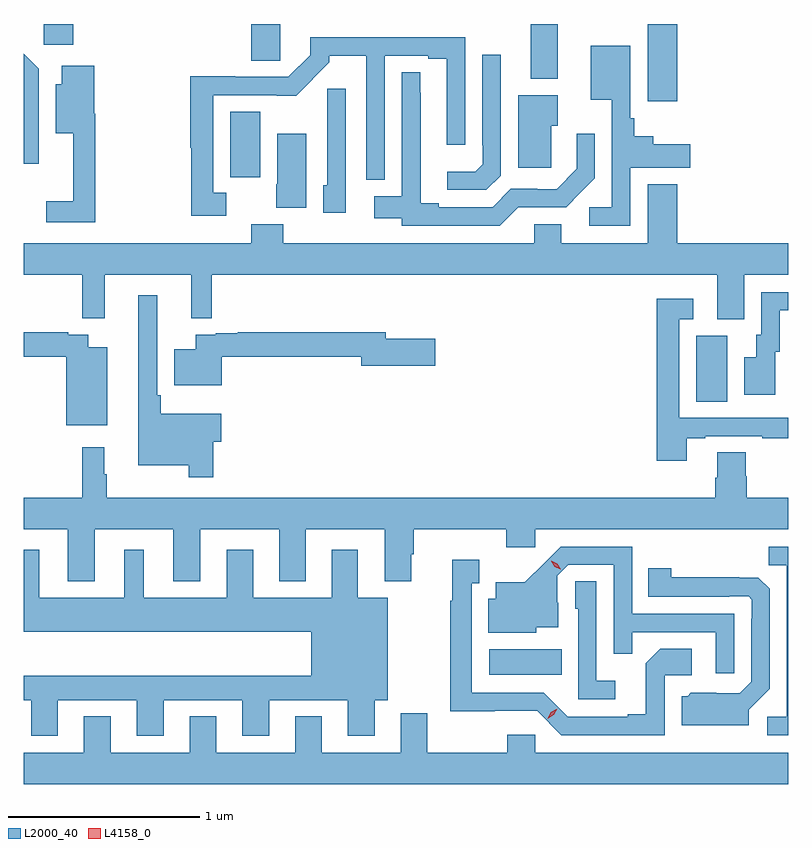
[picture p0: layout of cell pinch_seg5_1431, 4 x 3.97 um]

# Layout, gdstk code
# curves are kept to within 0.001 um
import gdstk
lib = gdstk.Library(unit=1e-6, precision=1e-09)
def R(c, l, rs):  # rectangles x0, y0, x1, y1
    for r in rs: c.add(gdstk.rectangle(r[:2], r[2:], *l))
def P(c, l, *ps):  # polygons
    for p in ps: c.add(gdstk.Polygon(p, *l))
L2000_40 = (2000, 40)
L4158_0 = (4158, 0)

pinch_seg5_1431 = lib.new_cell('pinch_seg5_1431')
R(pinch_seg5_1431, L2000_40, [(169.122,886.634,169.502,886.768), (170.204,888.064,170.368,888.408), (167.768,889.236,167.926,889.58), (169.952,889.635,170.105,890.038), (169.34,889.751,169.48,890.038), (167.879,889.846,168.03,890.038), (166.794,889.929,166.946,890.038)])
P(pinch_seg5_1431, L2000_40, [(167.746,889.155),(167.679,889.155),(167.679,889.665),(168.112,889.664),(168.286,889.837),(168.286,889.871),(168.48,889.871),(168.48,889.223),(168.576,889.223),(168.576,889.872),(168.803,889.872),(168.803,889.857),(168.899,889.857),(168.899,889.407),(168.996,889.407),(168.996,889.968),(168.186,889.968),(168.186,889.875),(168.072,889.761),(167.795,889.761),(167.795,889.766),(167.559,889.766),(167.559,889.392),(167.563,889.392),(167.563,889.035),(167.746,889.035)],
  [(169.86,889.286),(170.173,889.286),(170.173,889.408),(169.981,889.408),(169.981,889.45),(169.88,889.45),(169.88,889.546),(169.86,889.546),(169.86,889.924),(169.652,889.924),(169.652,889.643),(169.764,889.643),(169.764,889.08),(169.644,889.08),(169.644,888.984),(169.86,888.984)],
  [(166.767,889.803),(166.687,889.883),(166.687,889.308),(166.767,889.308)],
  [(169.182,889.245),(169.182,889.876),(169.086,889.876),(169.086,889.405),(169.089,889.405),(169.089,889.305),(169.049,889.265),(168.903,889.265),(168.903,889.17),(169.107,889.17)],
  [(167.063,889.57),(167.057,889.57),(167.057,889.819),(166.886,889.819),(166.886,889.723),(166.856,889.723),(166.856,889.466),(166.946,889.466),(166.946,889.111),(166.806,889.111),(166.806,889.002),(167.063,889.002)],
  [(169.273,889.08),(169.524,889.08),(169.674,889.232),(169.674,889.465),(169.58,889.465),(169.58,889.28),(169.474,889.174),(169.372,889.174),(169.372,889.176),(169.236,889.176),(169.14,889.08),(168.859,889.08),(168.859,889.1),(168.763,889.1),(168.762,889.787),(168.666,889.787),(168.666,889.138),(168.522,889.138),(168.522,889.022),(168.666,889.022),(168.666,888.984),(169.177,888.984)],
  [(168.372,889.699),(168.276,889.699),(168.276,889.194),(168.254,889.194),(168.254,889.05),(168.372,889.05)],
  [(169.447,889.505),(169.48,889.505),(169.48,889.666),(169.274,889.666),(169.274,889.287),(169.447,889.287)],
  [(168.166,889.465),(168.014,889.465),(168.014,889.2),(168.008,889.2),(168.008,889.076),(168.166,889.076)],
  [(170.455,888.728),(170.687,888.728),(170.687,888.892),(170.105,888.892),(170.105,889.201),(169.952,889.201),(169.952,888.892),(169.498,888.892),(169.498,888.991),(169.358,888.991),(169.358,888.892),(168.044,888.892),(168.044,888.991),(167.879,888.991),(167.879,888.892),(166.687,888.892),(166.687,888.728),(166.993,888.728),(166.993,888.499),(167.111,888.499),(167.111,888.728),(167.564,888.728),(167.564,888.499),(167.672,888.499),(167.672,888.728),(170.315,888.728),(170.315,888.493),(170.455,888.493)],
  [(170.617,888.324),(170.641,888.324),(170.641,888.54),(170.687,888.54),(170.687,888.636),(170.544,888.636),(170.544,888.414),(170.519,888.414),(170.519,888.295),(170.456,888.295),(170.456,888.099),(170.617,888.099)],
  [(167.678,887.854),(167.722,887.854),(167.722,888.001),(167.405,888.001),(167.405,888.097),(167.385,888.097),(167.385,888.619),(167.288,888.619),(167.288,887.732),(167.55,887.732),(167.55,887.667),(167.678,887.667)],
  [(170.155,887.871),(170.251,887.871),(170.251,887.883),(170.551,887.883),(170.551,887.871),(170.687,887.871),(170.687,887.979),(170.115,887.979),(170.115,888.495),(170.188,888.495),(170.188,888.601),(169.999,888.601),(169.999,887.754),(170.155,887.754)],
  [(167.723,888.298),(168.452,888.298),(168.452,888.251),(168.841,888.251),(168.841,888.393),(168.58,888.393),(168.58,888.427),(167.806,888.427),(167.806,888.42),(167.692,888.42),(167.692,888.414),(167.588,888.414),(167.588,888.337),(167.474,888.337),(167.474,888.149),(167.723,888.149)],
  [(167.125,888.349),(167.026,888.349),(167.026,888.414),(166.922,888.414),(166.922,888.427),(166.687,888.427),(166.687,888.298),(166.91,888.298),(166.91,887.939),(167.125,887.939)],
  [(167.059,887.396),(167.471,887.396),(167.471,887.123),(167.611,887.123),(167.611,887.396),(168.023,887.396),(168.023,887.123),(168.163,887.123),(168.163,887.396),(168.575,887.396),(168.575,887.123),(168.715,887.123),(168.715,887.265),(168.728,887.265),(168.728,887.396),(169.211,887.396),(169.211,887.301),(169.362,887.301),(169.362,887.396),(170.687,887.396),(170.687,887.56),(170.468,887.56),(170.468,887.673),(170.463,887.673),(170.463,887.798),(170.315,887.798),(170.315,887.666),(170.303,887.666),(170.303,887.56),(167.122,887.56),(167.122,887.684),(167.11,887.684),(167.11,887.824),(166.993,887.824),(166.993,887.56),(166.687,887.56),(166.687,887.396),(166.919,887.396),(166.919,887.123),(167.059,887.123)],
  [(170.687,887.304),(170.584,887.304),(170.584,887.209),(170.679,887.209),(170.679,886.416),(170.577,886.416),(170.577,886.32),(170.687,886.32)],
  [(170.403,886.953),(169.869,886.953),(169.869,887.304),(169.496,887.304),(169.309,887.119),(169.157,887.119),(169.157,887.032),(169.118,887.032),(169.118,886.856),(169.368,886.856),(169.368,886.883),(169.483,886.883),(169.483,887.012),(169.479,887.012),(169.479,887.154),(169.536,887.211),(169.773,887.211),(169.773,886.744),(169.871,886.744),(169.871,886.857),(170.307,886.857),(170.307,886.644),(170.403,886.644)],
  [(166.867,886.502),(167.279,886.502),(167.279,886.317),(167.419,886.317),(167.419,886.502),(167.831,886.502),(167.831,886.317),(167.971,886.317),(167.971,886.502),(168.383,886.502),(168.383,886.317),(168.523,886.317),(168.523,886.502),(168.592,886.502),(168.592,887.038),(168.436,887.038),(168.436,887.29),(168.299,887.29),(168.299,887.038),(167.887,887.038),(167.887,887.29),(167.75,887.29),(167.75,887.038),(167.317,887.038),(167.317,887.29),(167.213,887.29),(167.213,887.038),(166.768,887.038),(166.768,887.29),(166.687,887.29),(166.687,886.859),(168.191,886.859),(168.191,886.63),(166.687,886.63),(166.687,886.502),(166.727,886.502),(166.727,886.317),(166.867,886.317)],
  [(170.04,886.632),(170.182,886.632),(170.182,886.772),(170.017,886.772),(169.941,886.696),(169.941,886.429),(169.847,886.429),(169.847,886.416),(169.533,886.416),(169.407,886.542),(169.03,886.542),(169.03,887.115),(169.069,887.115),(169.069,887.236),(168.929,887.236),(168.929,887.023),(168.919,887.023),(168.919,886.445),(169.374,886.446),(169.5,886.32),(170.04,886.32)],
  [(170.479,886.452),(170.589,886.562),(170.589,887.084),(170.53,887.143),(170.073,887.144),(170.073,887.191),(169.954,887.191),(169.954,887.043),(170.378,887.043),(170.378,887.046),(170.478,887.046),(170.496,887.028),(170.496,886.928),(170.493,886.928),(170.493,886.599),(170.433,886.539),(170.176,886.54),(170.16,886.524),(170.129,886.524),(170.129,886.37),(170.479,886.37)],
  [(169.78,886.603),(169.683,886.603),(169.683,887.123),(169.572,887.123),(169.572,886.98),(169.587,886.98),(169.587,886.506),(169.78,886.506)],
  [(170.687,886.228),(169.362,886.228),(169.362,886.321),(169.216,886.321),(169.216,886.228),(168.799,886.228),(168.799,886.435),(168.659,886.435),(168.659,886.228),(168.247,886.228),(168.247,886.417),(168.107,886.417),(168.107,886.228),(167.695,886.228),(167.695,886.417),(167.555,886.417),(167.555,886.228),(167.143,886.228),(167.143,886.417),(167.003,886.417),(167.003,886.228),(166.687,886.228),(166.687,886.064),(170.687,886.064)])
P(pinch_seg5_1431, L4158_0, [(169.428,886.406),(169.428,886.407),(169.445,886.439),(169.477,886.458),(169.477,886.458),(169.477,886.458),(169.46,886.425),(169.428,886.406)],
  [(169.494,887.186),(169.464,887.201),(169.446,887.23),(169.446,887.231),(169.446,887.231),(169.477,887.216),(169.495,887.187),(169.495,887.186)])

lib.write_gds('pinch_seg5_1431.gds')
